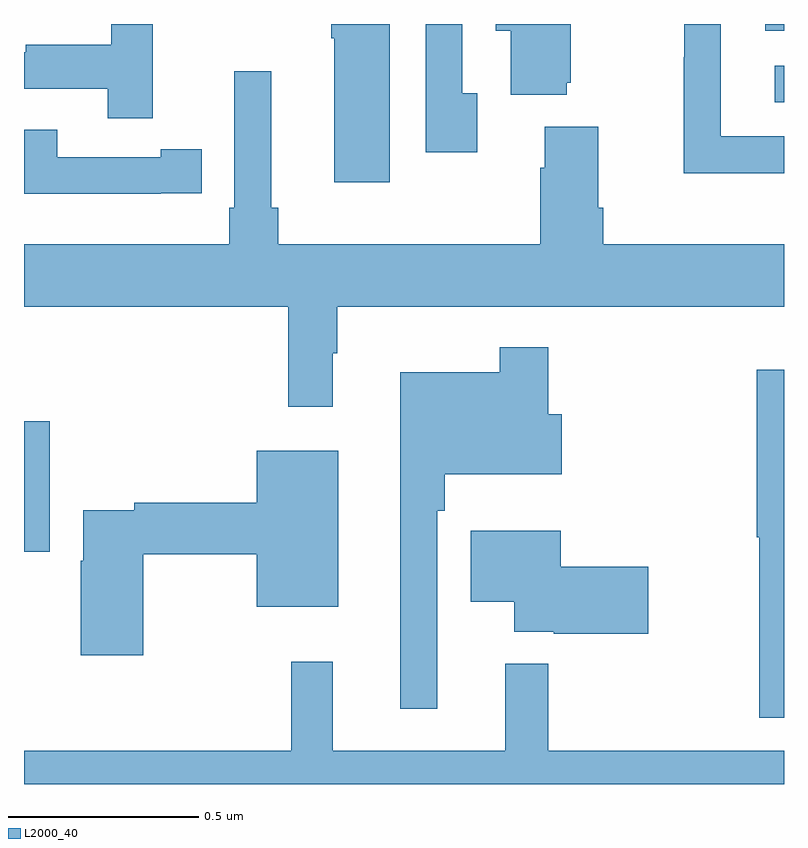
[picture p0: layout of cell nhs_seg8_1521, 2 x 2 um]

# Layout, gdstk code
import gdstk
lib = gdstk.Library(unit=1e-6, precision=1e-09)
def R(c, l, rs):  # rectangles x0, y0, x1, y1
    for r in rs: c.add(gdstk.rectangle(r[:2], r[2:], *l))
def P(c, l, *ps):  # polygons
    for p in ps: c.add(gdstk.Polygon(p, *l))
L2000_40 = (2000, 40)

nhs_seg8_1521 = lib.new_cell('nhs_seg8_1521')
R(nhs_seg8_1521, L2000_40, [(131,1126.511,131.068,1126.855), (132.975,1127.694,133,1127.79), (132.95,1127.882,133,1127.9)])
P(nhs_seg8_1521, L2000_40, [(131.339,1127.9),(131.229,1127.9),(131.229,1127.846),(131.005,1127.846),(131.005,1127.826),(131,1127.826),(131,1127.73),(131.221,1127.73),(131.221,1127.652),(131.339,1127.652)],
  [(131.962,1127.9),(131.809,1127.9),(131.809,1127.863),(131.816,1127.863),(131.816,1127.484),(131.962,1127.484)],
  [(133,1127.604),(132.834,1127.604),(132.834,1127.9),(132.738,1127.9),(132.738,1127.813),(132.736,1127.813),(132.736,1127.507),(133,1127.507)],
  [(132.428,1127.745),(132.439,1127.745),(132.439,1127.9),(132.242,1127.9),(132.242,1127.882),(132.281,1127.882),(132.281,1127.714),(132.428,1127.714)],
  [(132.193,1127.718),(132.153,1127.718),(132.153,1127.9),(132.057,1127.9),(132.057,1127.562),(132.193,1127.562)],
  [(131.812,1127.033),(131.824,1127.033),(131.824,1127.156),(133,1127.156),(133,1127.32),(132.524,1127.32),(132.524,1127.416),(132.511,1127.416),(132.511,1127.629),(132.371,1127.629),(132.371,1127.522),(132.359,1127.522),(132.359,1127.32),(131.669,1127.32),(131.669,1127.416),(131.65,1127.416),(131.65,1127.776),(131.553,1127.776),(131.553,1127.416),(131.54,1127.416),(131.54,1127.32),(131,1127.32),(131,1127.156),(131.695,1127.156),(131.695,1126.893),(131.812,1126.893)],
  [(131.36,1127.454),(131.468,1127.454),(131.468,1127.57),(131.36,1127.57),(131.36,1127.55),(131.088,1127.55),(131.088,1127.622),(131,1127.622),(131,1127.453),(131.36,1127.453)],
  [(132.087,1126.619),(132.107,1126.619),(132.107,1126.715),(132.415,1126.715),(132.415,1126.873),(132.38,1126.873),(132.38,1127.05),(132.252,1127.05),(132.252,1126.984),(131.99,1126.984),(131.99,1126.098),(132.087,1126.098)],
  [(133,1126.99),(132.928,1126.99),(132.928,1126.55),(132.935,1126.55),(132.935,1126.074),(133,1126.074)],
  [(131.314,1126.504),(131.612,1126.504),(131.612,1126.367),(131.827,1126.367),(131.827,1126.777),(131.612,1126.777),(131.612,1126.64),(131.29,1126.64),(131.29,1126.62),(131.156,1126.62),(131.156,1126.487),(131.149,1126.487),(131.149,1126.239),(131.314,1126.239)],
  [(132.643,1126.472),(132.412,1126.472),(132.412,1126.567),(132.176,1126.567),(132.176,1126.379),(132.29,1126.379),(132.29,1126.301),(132.394,1126.301),(132.394,1126.296),(132.643,1126.296)],
  [(133,1125.988),(132.379,1125.988),(132.379,1126.216),(132.266,1126.216),(132.266,1125.988),(131.813,1125.988),(131.813,1126.222),(131.703,1126.222),(131.703,1125.988),(131,1125.988),(131,1125.9),(133,1125.9)])

lib.write_gds('nhs_seg8_1521.gds')
